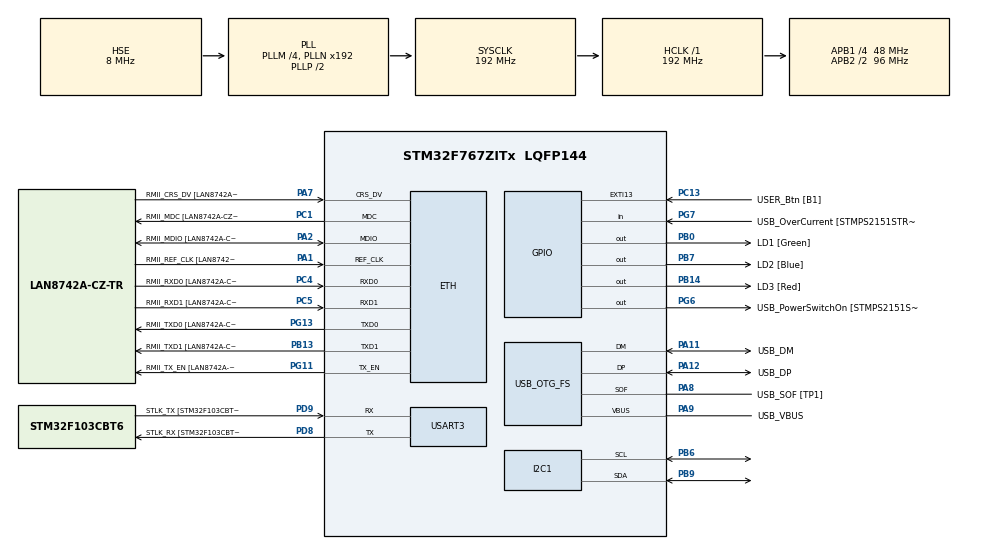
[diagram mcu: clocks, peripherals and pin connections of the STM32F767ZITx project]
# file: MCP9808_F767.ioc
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Mcu.Family=STM32F7
RCC.CortexFreq_Value=192000000
PG6.Signal=GPIO_Output
PB14.GPIO_Label=LD3 [Red]
PG6.GPIO_Label=USB_PowerSwitchOn [STMPS2151STR_EN]
PA14.GPIO_Label=TCK
RCC.SYSCLKSourceVirtual=RCC_SYSCLKSOURCE_PLLCLK
PA11.Mode=Device_Only
PB0.GPIO_Label=LD1 [Green]
PC14/OSC32_IN.Mode=LSE-External-Oscillator
PC5.Mode=RMII
PC13.GPIO_Label=USER_Btn [B1]
PB13.GPIO_Label=RMII_TXD1 [LAN8742A-CZ-TR_TXD1]
PB13.Signal=ETH_TXD1
PG13.Signal=ETH_TXD0
PD9.Mode=Asynchronous
PG11.Signal=ETH_TX_EN
RCC.SYSCLKSource=RCC_SYSCLKSOURCE_PLLCLK
ProjectManager.StackSize=0x400
USART3.VirtualMode-Asynchronous=VM_ASYNC
PA12.Signal=USB_OTG_FS_DP
ETH.PHY_Value=0
PH0/OSC_IN.Mode=HSE-External-Clock-Source
RCC.HCLKFreq_Value=192000000
RCC.APB2TimFreq_Value=192000000
PB6.Signal=I2C1_SCL
PH1/OSC_OUT.Signal=RCC_OSC_OUT
PB6.Mode=I2C
PD8.Signal=USART3_TX
RCC.AHBFreq_Value=192000000
RCC.HSE_VALUE=8000000
RCC.PLLMUL=RCC_PLL_MUL9
PC4.GPIO_Label=RMII_RXD0 [LAN8742A-CZ-TR_RXD0]
PA14.Mode=Serial_Wire
PA10.GPIO_Label=USB_ID
PB7.Signal=GPIO_Output
PA8.Signal=USB_OTG_FS_SOF
PG13.Mode=RMII
ETH.PHY_Name=LAN8742A_PHY_ADDRESS
PH1/OSC_OUT.Mode=HSE-External-Clock-Source
PB7.GPIO_Label=LD2 [Blue]
PB9.Signal=I2C1_SDA
Mcu.Package=LQFP144
PC14/OSC32_IN.Signal=RCC_OSC32_IN
PA2.GPIO_Label=RMII_MDIO [LAN8742A-CZ-TR_MDIO]
PA10.Signal=USB_OTG_FS_ID
USB_OTG_FS.VirtualMode=Device_Only
RCC.APB2CLKDivider=RCC_HCLK_DIV2
RCC.APB1TimFreq_Value=96000000
PG11.GPIO_Label=RMII_TX_EN [LAN8742A-CZ-TR_TXEN]
PC5.Signal=ETH_RXD1
PB13.Mode=RMII
PC4.Mode=RMII
PB3.GPIO_Label=SWO
PA7.Mode=RMII
PG7.Signal=GPIO_Input
PD9.GPIO_Label=STLK_TX [STM32F103CBT6_PA2]
PC13.Signal=GPXTI13
PA9.GPIO_Label=USB_VBUS
PC4.Signal=ETH_RXD0
PA11.GPIO_Label=USB_DM
PD9.Signal=USART3_RX
RCC.APB1CLKDivider=RCC_HCLK_DIV4
PG13.GPIO_Label=RMII_TXD0 [LAN8742A-CZ-TR_TXD0]
ETH.PhyAddress=0
PA12.GPIO_Label=USB_DP
PD8.GPIO_Label=STLK_RX [STM32F103CBT6_PA3]
PA13.Signal=SYS_JTMS-SWDIO
PA9.Mode=Activate_VBUS
PA8.GPIO_Label=USB_SOF [TP1]
ProjectManager.TargetToolchain=TrueSTUDIO
PB9.Mode=I2C
PA9.Signal=USB_OTG_FS_VBUS
I2C1.Timing=0x20303E5D
RCC.USBFreq_Value=48000000
PD8.Mode=Asynchronous
PA1.Signal=ETH_REF_CLK
PB14.Signal=GPIO_Output
board=NUCLEO-F767ZI
RCC.VCOOutputFreq_Value=384000000
PH0/OSC_IN.Signal=RCC_OSC_IN
RCC.APB2Freq_Value=96000000
PA1.Mode=RMII
RCC.PRESCALERUSB=RCC_USBCLKSOURCE_PLL_DIV1_5
PG7.GPIO_Label=USB_OverCurrent [STMPS2151STR_FAULT]
PA1.GPIO_Label=RMII_REF_CLK [LAN8742A-CZ-TR_REFCLK0]
PC1.GPIO_Label=RMII_MDC [LAN8742A-CZ-TR_MDC]
PA13.Mode=Serial_Wire
Mcu.Name=STM32F767ZITx
PA2.Signal=ETH_MDIO
PA13.GPIO_Label=TMS
RCC.48MHZClocksFreq_Value=24000000
PB3.Signal=SYS_JTDO-SWO
RCC.SYSCLKFreq_VALUE=192000000
ETH.MediaInterface=ETH_MEDIA_INTERFACE_RMII
PA7.GPIO_Label=RMII_CRS_DV [LAN8742A-CZ-TR_CRS_DV]
PA12.Mode=Device_Only
PC5.GPIO_Label=RMII_RXD1 [LAN8742A-CZ-TR_RXD1]
PC15/OSC32_OUT.Mode=LSE-External-Oscillator
PG11.Mode=RMII
PA11.Signal=USB_OTG_FS_DM
PA14.Signal=SYS_JTCK-SWCLK
ProjectManager.HeapSize=0x200
RCC.HSI_VALUE=16000000
PH0/OSC_IN.GPIO_Label=MCO [STM32F103CBT6_PA8]
RCC.PLLQ=8
NVIC.PriorityGroup=NVIC_PRIORITYGROUP_4
RCC.PLLM=4
PA2.Mode=RMII
PC15/OSC32_OUT.Signal=RCC_OSC32_OUT
PA8.Mode=Activate_SOF_FS
RCC.APB1Freq_Value=48000000
PB0.Signal=GPIO_Output
PC1.Signal=ETH_MDC
PC1.Mode=RMII
PA7.Signal=ETH_CRS_DV

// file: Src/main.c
/* USER CODE BEGIN Header */
/**
  ******************************************************************************
  * @file           : main.c
  * @brief          : Main program body
  ******************************************************************************
  * @attention
  *
  * <h2><center>&copy; Copyright (c) 2020 STMicroelectronics.
  * All rights reserved.</center></h2>
  *
  * This software component is licensed by ST under BSD 3-Clause license,
  * the "License"; You may not use this file except in compliance with the
  * License. You may obtain a copy of the License at:
  *                        opensource.org/licenses/BSD-3-Clause
  *
  ******************************************************************************
  */
/* USER CODE END Header */

#include "main.h"

/* USER CODE BEGIN Includes */
/* MCP9808 high accuracy temp sensor from adafruit (no address pins pulled up) */
#define MCP9808_REG_TEMP (0x05) // Temperature Register
#define MCP9808_REG_CONF (0x01) // Configuration Register
#define MCP9808_ADDR     (0x30) // MCP9808 base address 0x18<<1

/* USER CODE END Includes */

ETH_HandleTypeDef heth;

I2C_HandleTypeDef hi2c1;

UART_HandleTypeDef huart3;

PCD_HandleTypeDef hpcd_USB_OTG_FS;

void SystemClock_Config(void);
static void MX_GPIO_Init(void);
static void MX_ETH_Init(void);
static void MX_I2C1_Init(void);
static void MX_USART3_UART_Init(void);
static void MX_USB_OTG_FS_PCD_Init(void);

/* USER CODE BEGIN 0 */
volatile char TempCelsiusDisplay[] = "+abc.dd C";

/* USER CODE END 0 */

int main(void)
{
  /* USER CODE BEGIN 1 */
    char data_write[3];
    char data_read[2];
    int tempval;

  /* USER CODE END 1 */

  /* MCU Configuration--------------------------------------------------------*/

  /* Reset of all peripherals, Initializes the Flash interface and the Systick. */
  HAL_Init();

  /* Configure the system clock */
  SystemClock_Config();

  /* USER CODE BEGIN SysInit */
uint8_t buf[100];
data_write[0] = MCP9808_REG_CONF;
 data_write[1] = 0x00;  // config msb
 data_write[2] = 0x00;  // config lsb
 int stat=0;
  /* USER CODE END SysInit */

  /* Initialize all configured peripherals */
  MX_GPIO_Init();
  MX_ETH_Init();
  MX_I2C1_Init();
  MX_USART3_UART_Init();
  MX_USB_OTG_FS_PCD_Init();
  /* USER CODE BEGIN 2 */
  HAL_Delay(3000);
  if(HAL_I2C_Init(&hi2c1) != HAL_OK)
  {
    /* Initialization Error */
		sprintf(buf,"error Initiate  %d\r\n");
		HAL_UART_Transmit(&huart3,buf,strlen(buf),1000);
  }
sprintf(buf,"hello World\n\r");
if(stat=(HAL_I2C_Master_Transmit(&hi2c1,MCP9808_ADDR,data_write,3,1000))!=HAL_OK)
{
	sprintf(buf,"error sending commmand  %d\r\n",stat);
	HAL_UART_Transmit(&huart3,buf,strlen(buf),1000);
    while (1) {
         HAL_GPIO_TogglePin(LD2_GPIO_Port,LD2_Pin);
         HAL_Delay(200);
     }

}
sprintf(buf,"enter forever loop\r\n");
HAL_UART_Transmit(&huart3,buf,strlen(buf),1000);
  /* USER CODE END 2 */

  /* Infinite loop */
  /* USER CODE BEGIN WHILE */
  while (1)
  {
      data_write[0] = MCP9808_REG_TEMP;
      HAL_I2C_Master_Transmit(&hi2c1,MCP9808_ADDR,data_write,1,1000);// no stop
     HAL_I2C_Master_Receive(&hi2c1,MCP9808_ADDR, data_read, 2,1000);
     if((data_read[0] & 0x80)  == 0x80) {
         sprintf(buf," temp >= critical ");
         HAL_UART_Transmit(&huart3,buf,strlen(buf),1000);

     }
     if((data_read[0] & 0x40) == 0x40) {
    	 sprintf(buf,"   temp > upper limit ");
         HAL_UART_Transmit(&huart3,buf,strlen(buf),1000);

     }
     if((data_read[0] & 0x20) == 0x20) {
    	 sprintf(buf," temp < lower limit  ");
         HAL_UART_Transmit(&huart3,buf,strlen(buf),1000);

     }
     if(data_read[0] & 0xE0) {
    	 sprintf(buf,"\r\n");
         HAL_UART_Transmit(&huart3,buf,strlen(buf),1000);
         data_read[0] = data_read[0] & 0x1F;  // clear flag bits
     }
     if((data_read[0] & 0x10) == 0x10) {
         data_read[0] = data_read[0] & 0x0F;
         TempCelsiusDisplay[0] = '-';
         tempval = 256 - (data_read[0] << 4) + (data_read[1] >> 4);
     } else {
         TempCelsiusDisplay[0] = '+';
         tempval = (data_read[0] << 4) + (data_read[1] >> 4);
     }

     // fractional part (0.25°C precision)
     if (data_read[1] & 0x08) {
         if(data_read[1] & 0x04) {
             TempCelsiusDisplay[5] = '7';
             TempCelsiusDisplay[6] = '5';
         } else {
             TempCelsiusDisplay[5] = '5';
             TempCelsiusDisplay[6] = '0';
         }
     } else {
         if(data_read[1] & 0x04) {
             TempCelsiusDisplay[5] = '2';
             TempCelsiusDisplay[6] = '5';
         }else{
             TempCelsiusDisplay[5] = '0';
             TempCelsiusDisplay[6] = '0';
         }
     }

     // Integer part
     TempCelsiusDisplay[1] = (tempval / 100) + 0x30;
     TempCelsiusDisplay[2] = ((tempval % 100) / 10) + 0x30;
     TempCelsiusDisplay[3] = ((tempval % 100) % 10) + 0x30;

     // Display result
     sprintf(buf,"temp = %s\r\n", TempCelsiusDisplay);
     HAL_UART_Transmit(&huart3,buf,strlen(buf),1000);
     HAL_Delay(1000);
  //HAL_UART_Transmit(&huart3,buf,strlen(buf),1000);
  //HAL_Delay(1000);
    /* USER CODE END WHILE */

  }
}

void SystemClock_Config(void)
{
  RCC_OscInitTypeDef RCC_OscInitStruct = {0};
  RCC_ClkInitTypeDef RCC_ClkInitStruct = {0};
  RCC_PeriphCLKInitTypeDef PeriphClkInitStruct = {0};

  /** Configure LSE Drive Capability
  */
  HAL_PWR_EnableBkUpAccess();
  /** Configure the main internal regulator output voltage
  */
  __HAL_RCC_PWR_CLK_ENABLE();
  __HAL_PWR_VOLTAGESCALING_CONFIG(PWR_REGULATOR_VOLTAGE_SCALE1);
  /** Initializes the CPU, AHB and APB busses clocks
  */
  RCC_OscInitStruct.OscillatorType = RCC_OSCILLATORTYPE_HSE;
  RCC_OscInitStruct.HSEState = RCC_HSE_BYPASS;
  RCC_OscInitStruct.PLL.PLLState = RCC_PLL_ON;
  RCC_OscInitStruct.PLL.PLLSource = RCC_PLLSOURCE_HSE;
  RCC_OscInitStruct.PLL.PLLM = 4;
  RCC_OscInitStruct.PLL.PLLN = 192;
  RCC_OscInitStruct.PLL.PLLP = RCC_PLLP_DIV2;
  RCC_OscInitStruct.PLL.PLLQ = 8;
  if (HAL_RCC_OscConfig(&RCC_OscInitStruct) != HAL_OK)
  {
    Error_Handler();
  }
  /** Activate the Over-Drive mode
  */
  if (HAL_PWREx_EnableOverDrive() != HAL_OK)
  {
    Error_Handler();
  }
  /** Initializes the CPU, AHB and APB busses clocks
  */
  RCC_ClkInitStruct.ClockType = RCC_CLOCKTYPE_HCLK|RCC_CLOCKTYPE_SYSCLK
                              |RCC_CLOCKTYPE_PCLK1|RCC_CLOCKTYPE_PCLK2;
  RCC_ClkInitStruct.SYSCLKSource = RCC_SYSCLKSOURCE_PLLCLK;
  RCC_ClkInitStruct.AHBCLKDivider = RCC_SYSCLK_DIV1;
  RCC_ClkInitStruct.APB1CLKDivider = RCC_HCLK_DIV4;
  RCC_ClkInitStruct.APB2CLKDivider = RCC_HCLK_DIV2;

  if (HAL_RCC_ClockConfig(&RCC_ClkInitStruct, FLASH_LATENCY_6) != HAL_OK)
  {
    Error_Handler();
  }
  PeriphClkInitStruct.PeriphClockSelection = RCC_PERIPHCLK_USART3|RCC_PERIPHCLK_I2C1
                              |RCC_PERIPHCLK_CLK48;
  PeriphClkInitStruct.Usart3ClockSelection = RCC_USART3CLKSOURCE_PCLK1;
  PeriphClkInitStruct.I2c1ClockSelection = RCC_I2C1CLKSOURCE_PCLK1;
  PeriphClkInitStruct.Clk48ClockSelection = RCC_CLK48SOURCE_PLL;
  if (HAL_RCCEx_PeriphCLKConfig(&PeriphClkInitStruct) != HAL_OK)
  {
    Error_Handler();
  }
}

static void MX_ETH_Init(void)
{

  heth.Instance = ETH;
  heth.Init.AutoNegotiation = ETH_AUTONEGOTIATION_ENABLE;
  heth.Init.PhyAddress = LAN8742A_PHY_ADDRESS;
  heth.Init.MACAddr[0] =   0x00;
  heth.Init.MACAddr[1] =   0x80;
  heth.Init.MACAddr[2] =   0xE1;
  heth.Init.MACAddr[3] =   0x00;
  heth.Init.MACAddr[4] =   0x00;
  heth.Init.MACAddr[5] =   0x00;
  heth.Init.RxMode = ETH_RXPOLLING_MODE;
  heth.Init.ChecksumMode = ETH_CHECKSUM_BY_HARDWARE;
  heth.Init.MediaInterface = ETH_MEDIA_INTERFACE_RMII;

  if (HAL_ETH_Init(&heth) != HAL_OK)
  {
    Error_Handler();
  }

}

static void MX_I2C1_Init(void)
{

  hi2c1.Instance = I2C1;
  hi2c1.Init.Timing = 0x20303E5D;
  hi2c1.Init.OwnAddress1 = 0;
  hi2c1.Init.AddressingMode = I2C_ADDRESSINGMODE_7BIT;
  hi2c1.Init.DualAddressMode = I2C_DUALADDRESS_DISABLE;
  hi2c1.Init.OwnAddress2 = 0;
  hi2c1.Init.OwnAddress2Masks = I2C_OA2_NOMASK;
  hi2c1.Init.GeneralCallMode = I2C_GENERALCALL_DISABLE;
  hi2c1.Init.NoStretchMode = I2C_NOSTRETCH_DISABLE;
  if (HAL_I2C_Init(&hi2c1) != HAL_OK)
  {
    Error_Handler();
  }
  /** Configure Analogue filter
  */
  if (HAL_I2CEx_ConfigAnalogFilter(&hi2c1, I2C_ANALOGFILTER_ENABLE) != HAL_OK)
  {
    Error_Handler();
  }
  /** Configure Digital filter
  */
  if (HAL_I2CEx_ConfigDigitalFilter(&hi2c1, 0) != HAL_OK)
  {
    Error_Handler();
  }

}

static void MX_USART3_UART_Init(void)
{

  huart3.Instance = USART3;
  huart3.Init.BaudRate = 115200;
  huart3.Init.WordLength = UART_WORDLENGTH_8B;
  huart3.Init.StopBits = UART_STOPBITS_1;
  huart3.Init.Parity = UART_PARITY_NONE;
  huart3.Init.Mode = UART_MODE_TX_RX;
  huart3.Init.HwFlowCtl = UART_HWCONTROL_NONE;
  huart3.Init.OverSampling = UART_OVERSAMPLING_16;
  huart3.Init.OneBitSampling = UART_ONE_BIT_SAMPLE_DISABLE;
  huart3.AdvancedInit.AdvFeatureInit = UART_ADVFEATURE_NO_INIT;
  if (HAL_UART_Init(&huart3) != HAL_OK)
  {
    Error_Handler();
  }

}

static void MX_USB_OTG_FS_PCD_Init(void)
{

  hpcd_USB_OTG_FS.Instance = USB_OTG_FS;
  hpcd_USB_OTG_FS.Init.dev_endpoints = 6;
  hpcd_USB_OTG_FS.Init.speed = PCD_SPEED_FULL;
  hpcd_USB_OTG_FS.Init.dma_enable = DISABLE;
  hpcd_USB_OTG_FS.Init.phy_itface = PCD_PHY_EMBEDDED;
  hpcd_USB_OTG_FS.Init.Sof_enable = ENABLE;
  hpcd_USB_OTG_FS.Init.low_power_enable = DISABLE;
  hpcd_USB_OTG_FS.Init.lpm_enable = DISABLE;
  hpcd_USB_OTG_FS.Init.vbus_sensing_enable = ENABLE;
  hpcd_USB_OTG_FS.Init.use_dedicated_ep1 = DISABLE;
  if (HAL_PCD_Init(&hpcd_USB_OTG_FS) != HAL_OK)
  {
    Error_Handler();
  }

}

static void MX_GPIO_Init(void)
{
  GPIO_InitTypeDef GPIO_InitStruct = {0};

  /* GPIO Ports Clock Enable */
  __HAL_RCC_GPIOC_CLK_ENABLE();
  __HAL_RCC_GPIOH_CLK_ENABLE();
  __HAL_RCC_GPIOA_CLK_ENABLE();
  __HAL_RCC_GPIOB_CLK_ENABLE();
  __HAL_RCC_GPIOD_CLK_ENABLE();
  __HAL_RCC_GPIOG_CLK_ENABLE();

  /*Configure GPIO pin Output Level */
  HAL_GPIO_WritePin(GPIOB, LD1_Pin|LD3_Pin|LD2_Pin, GPIO_PIN_RESET);

  /*Configure GPIO pin Output Level */
  HAL_GPIO_WritePin(USB_PowerSwitchOn_GPIO_Port, USB_PowerSwitchOn_Pin, GPIO_PIN_RESET);

  /*Configure GPIO pin : USER_Btn_Pin */
  GPIO_InitStruct.Pin = USER_Btn_Pin;
  GPIO_InitStruct.Mode = GPIO_MODE_IT_RISING;
  GPIO_InitStruct.Pull = GPIO_NOPULL;
  HAL_GPIO_Init(USER_Btn_GPIO_Port, &GPIO_InitStruct);

  /*Configure GPIO pins : LD1_Pin LD3_Pin LD2_Pin */
  GPIO_InitStruct.Pin = LD1_Pin|LD3_Pin|LD2_Pin;
  GPIO_InitStruct.Mode = GPIO_MODE_OUTPUT_PP;
  GPIO_InitStruct.Pull = GPIO_NOPULL;
  GPIO_InitStruct.Speed = GPIO_SPEED_FREQ_LOW;
  HAL_GPIO_Init(GPIOB, &GPIO_InitStruct);

  /*Configure GPIO pin : USB_PowerSwitchOn_Pin */
  GPIO_InitStruct.Pin = USB_PowerSwitchOn_Pin;
  GPIO_InitStruct.Mode = GPIO_MODE_OUTPUT_PP;
  GPIO_InitStruct.Pull = GPIO_NOPULL;
  GPIO_InitStruct.Speed = GPIO_SPEED_FREQ_LOW;
  HAL_GPIO_Init(USB_PowerSwitchOn_GPIO_Port, &GPIO_InitStruct);

  /*Configure GPIO pin : USB_OverCurrent_Pin */
  GPIO_InitStruct.Pin = USB_OverCurrent_Pin;
  GPIO_InitStruct.Mode = GPIO_MODE_INPUT;
  GPIO_InitStruct.Pull = GPIO_NOPULL;
  HAL_GPIO_Init(USB_OverCurrent_GPIO_Port, &GPIO_InitStruct);

}

void Error_Handler(void)
{
}

/************************ (C) COPYRIGHT STMicroelectronics *****END OF FILE****/
